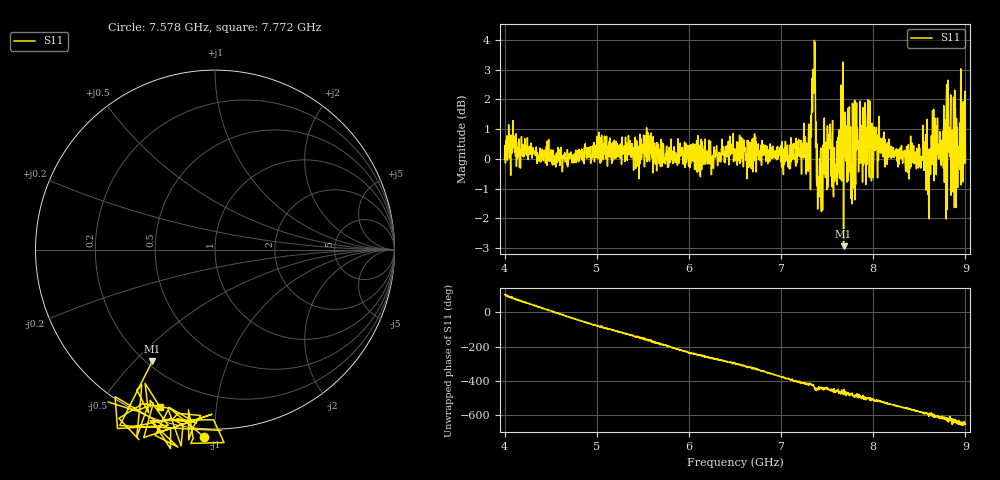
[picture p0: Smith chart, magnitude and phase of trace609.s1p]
! Created with skrf 1.8.0 (http://scikit-rf.org).
# Hz S RI R 50.0
!freq ReS11 ImS11
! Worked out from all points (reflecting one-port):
!   1601 points, 4 GHz to 9 GHz, reference 50 ohm
!   lowest |S11| = -2.9 dB at 7.678 GHz (marker M1), VSWR 5.97, Z = 11.1 - j28.2 ohm
!   phase of S11 starts at 105 deg and turns -754 deg over the sweep
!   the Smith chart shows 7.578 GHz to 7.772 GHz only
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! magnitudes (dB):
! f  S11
! 4 GHz  0.0
! 4.094 GHz  0.5
! 4.625 GHz  -0.4
! 5.25 GHz  0.3
! 5.875 GHz  -0.2
! 6.5 GHz  0.0
! 7.125 GHz  0.4
! 7.294 GHz  -0.4
! 7.347 GHz  3.0
! 7.369 GHz  3.9
! 7.4 GHz  -1.0
! 7.412 GHz  -0.8
! 7.512 GHz  0.4
! 7.588 GHz  -0.3
! 7.65 GHz  2.5
! 7.678 GHz  -2.9
! 7.75 GHz  -0.4
! 7.928 GHz  0.3
! 8.375 GHz  -0.3
! 8.559 GHz  -0.4
! 8.597 GHz  -1.2
! 8.656 GHz  1.7
! 8.766 GHz  1.8
! 8.819 GHz  0.2
! 8.856 GHz  0.6
! 8.919 GHz  0.1
! 8.972 GHz  0.5
! 9 GHz  -0.1
